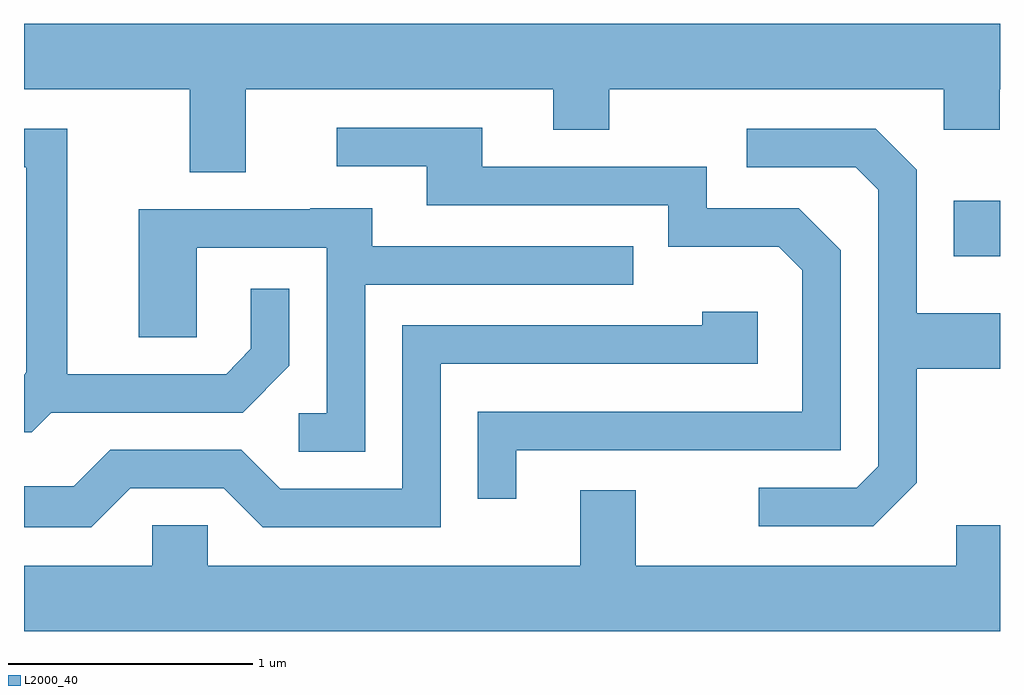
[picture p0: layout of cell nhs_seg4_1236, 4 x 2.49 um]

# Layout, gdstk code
import gdstk
lib = gdstk.Library(unit=1e-6, precision=1e-09)
def R(c, l, rs):  # rectangles x0, y0, x1, y1
    for r in rs: c.add(gdstk.rectangle(r[:2], r[2:], *l))
def P(c, l, *ps):  # polygons
    for p in ps: c.add(gdstk.Polygon(p, *l))
L2000_40 = (2000, 40)

nhs_seg4_1236 = lib.new_cell('nhs_seg4_1236')
R(nhs_seg4_1236, L2000_40, [(225.421,1280.731,225.611,1280.959)])
P(nhs_seg4_1236, L2000_40, [(221.611,1281.416),(222.291,1281.416),(222.291,1281.076),(222.519,1281.076),(222.519,1281.416),(223.781,1281.416),(223.781,1281.251),(224.009,1281.251),(224.009,1281.416),(225.381,1281.416),(225.381,1281.251),(225.609,1281.251),(225.609,1281.416),(225.611,1281.416),(225.611,1281.684),(221.611,1281.684)],
  [(223.629,1279.936),(224.959,1279.936),(224.959,1280.757),(224.787,1280.929),(224.409,1280.929),(224.409,1281.099),(223.489,1281.099),(223.489,1281.259),(222.893,1281.259),(222.893,1281.101),(223.261,1281.101),(223.261,1280.941),(224.251,1280.941),(224.251,1280.771),(224.704,1280.771),(224.801,1280.674),(224.801,1280.094),(223.471,1280.094),(223.471,1279.738),(223.629,1279.738)],
  [(225.269,1279.804),(225.269,1280.271),(225.611,1280.271),(225.611,1280.499),(225.269,1280.499),(225.269,1281.087),(225.102,1281.254),(224.573,1281.254),(224.573,1281.096),(225.019,1281.096),(225.111,1281.004),(225.111,1279.872),(225.024,1279.784),(224.623,1279.784),(224.623,1279.626),(225.092,1279.626)],
  [(221.722,1280.091),(222.507,1280.091),(222.699,1280.284),(222.699,1280.598),(222.541,1280.598),(222.541,1280.352),(222.439,1280.249),(221.789,1280.249),(221.789,1281.254),(221.611,1281.254),(221.611,1281.096),(221.621,1281.096),(221.621,1280.257),(221.611,1280.247),(221.611,1280.011),(221.642,1280.011)],
  [(223.009,1280.616),(224.108,1280.616),(224.108,1280.774),(223.039,1280.774),(223.039,1280.929),(222.785,1280.929),(222.785,1280.924),(222.081,1280.924),(222.081,1280.401),(222.319,1280.401),(222.319,1280.766),(222.851,1280.766),(222.851,1280.089),(222.738,1280.089),(222.738,1279.931),(223.009,1279.931)],
  [(222.047,1279.781),(222.429,1279.781),(222.589,1279.621),(223.319,1279.621),(223.319,1280.291),(224.619,1280.291),(224.619,1280.504),(224.391,1280.504),(224.391,1280.449),(223.161,1280.449),(223.161,1279.779),(222.662,1279.779),(222.502,1279.939),(221.964,1279.939),(221.814,1279.789),(221.611,1279.789),(221.611,1279.621),(221.887,1279.621)],
  [(225.611,1279.629),(225.431,1279.629),(225.431,1279.464),(224.119,1279.464),(224.119,1279.774),(223.891,1279.774),(223.891,1279.464),(222.364,1279.464),(222.364,1279.629),(222.136,1279.629),(222.136,1279.464),(221.611,1279.464),(221.611,1279.196),(225.611,1279.196)])

lib.write_gds('nhs_seg4_1236.gds')
